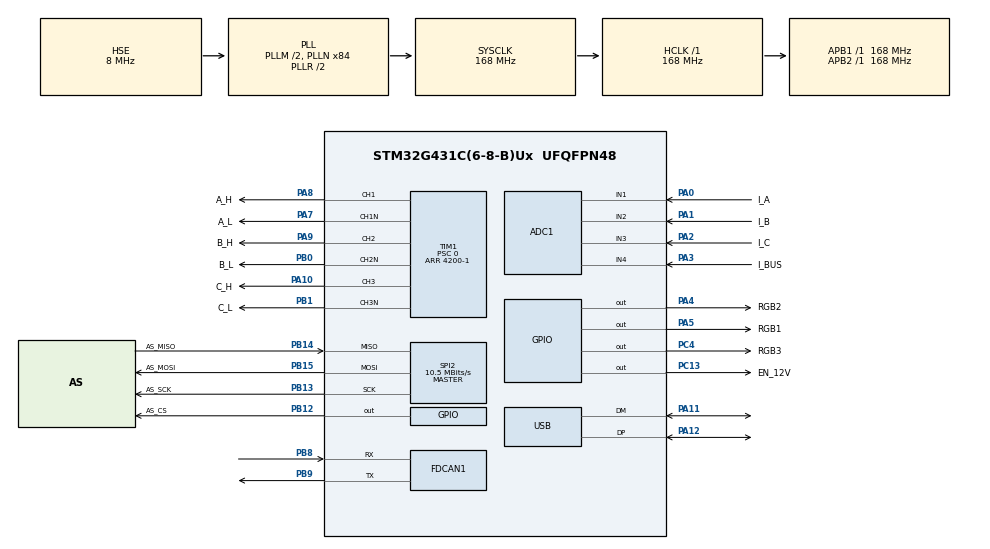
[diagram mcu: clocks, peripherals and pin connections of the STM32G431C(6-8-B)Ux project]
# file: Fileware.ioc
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ADC1.EnableInjectedConversion=ENABLE
ADC1.EnableRegularConversion=DISABLE
ADC1.ExternalTrigInjecConv=ADC_EXTERNALTRIGINJEC_T1_CC4
ADC1.ExternalTrigInjecConvEdge=ADC_EXTERNALTRIGINJECCONV_EDGE_RISINGFALLING
ADC1.InjNumberOfConversion=4
ADC1.InjectedChannel-1\#ChannelInjectedConversion=ADC_CHANNEL_1
ADC1.InjectedChannel-2\#ChannelInjectedConversion=ADC_CHANNEL_2
ADC1.InjectedChannel-3\#ChannelInjectedConversion=ADC_CHANNEL_3
ADC1.InjectedChannel-4\#ChannelInjectedConversion=ADC_CHANNEL_4
ADC1.InjectedOffsetNumber-1\#ChannelInjectedConversion=ADC_OFFSET_NONE
ADC1.InjectedOffsetNumber-2\#ChannelInjectedConversion=ADC_OFFSET_NONE
ADC1.InjectedOffsetNumber-3\#ChannelInjectedConversion=ADC_OFFSET_NONE
ADC1.InjectedOffsetNumber-4\#ChannelInjectedConversion=ADC_OFFSET_NONE
ADC1.InjectedRank-1\#ChannelInjectedConversion=1
ADC1.InjectedRank-2\#ChannelInjectedConversion=2
ADC1.InjectedRank-3\#ChannelInjectedConversion=3
ADC1.InjectedRank-4\#ChannelInjectedConversion=4
ADC1.InjectedSamplingTime-1\#ChannelInjectedConversion=ADC_SAMPLETIME_2CYCLES_5
ADC1.InjectedSamplingTime-2\#ChannelInjectedConversion=ADC_SAMPLETIME_24CYCLES_5
ADC1.InjectedSamplingTime-3\#ChannelInjectedConversion=ADC_SAMPLETIME_24CYCLES_5
ADC1.InjectedSamplingTime-4\#ChannelInjectedConversion=ADC_SAMPLETIME_6CYCLES_5
ADC1.Rank1_Channel=ADC_CHANNEL_1
ADC1.Rank2_Channel=ADC_CHANNEL_2
ADC1.Rank3_Channel=ADC_CHANNEL_3
ADC1.Rank4_Channel=ADC_CHANNEL_4
ADC1.master=1
FDCAN1.CalculateBaudRateNominal=999999
FDCAN1.CalculateTimeBitNominal=1000
FDCAN1.CalculateTimeQuantumNominal=83.33333333333334
FDCAN1.NominalPrescaler=14
FDCAN1.NominalSyncJumpWidth=2
FDCAN1.NominalTimeSeg1=5
FDCAN1.NominalTimeSeg2=6
Mcu.Family=STM32G4
Mcu.Name=STM32G431C(6-8-B)Ux
Mcu.Package=UFQFPN48
NVIC.ADC1_2_IRQn=true\:0\:0\:false\:false\:true\:true\:true\:true
NVIC.FDCAN1_IT0_IRQn=true\:2\:0\:true\:false\:true\:true\:true\:true
NVIC.PriorityGroup=NVIC_PRIORITYGROUP_4
NVIC.TIM6_DAC_IRQn=true\:1\:0\:true\:false\:true\:true\:true\:true
NVIC.USB_LP_IRQn=true\:0\:0\:false\:false\:true\:false\:true\:true
PA0.GPIO_Label=I_A
PA0.Mode=IN1-Single-Ended
PA0.Signal=ADC1_IN1
PA1.GPIO_Label=I_B
PA1.Mode=IN2-Single-Ended
PA1.Signal=ADC1_IN2
PA10.GPIO_Label=C_H
PA10.Signal=S_TIM1_CH3
PA11.Mode=Device
PA11.Signal=USB_DM
PA12.Mode=Device
PA12.Signal=USB_DP
PA13.Mode=Serial_Wire
PA13.Signal=SYS_JTMS-SWDIO
PA14.Mode=Serial_Wire
PA14.Signal=SYS_JTCK-SWCLK
PA2.GPIO_Label=I_C
PA2.Mode=IN3-Single-Ended
PA2.Signal=ADC1_IN3
PA3.GPIO_Label=I_BUS
PA3.Mode=IN4-Single-Ended
PA3.Signal=ADC1_IN4
PA4.GPIO_Label=RGB2
PA4.Signal=GPIO_Output
PA5.GPIO_Label=RGB1
PA5.Signal=GPIO_Output
PA7.GPIO_Label=A_L
PA7.Mode=PWM Generation1 CH1 CH1N
PA7.Signal=TIM1_CH1N
PA8.GPIO_Label=A_H
PA8.Signal=S_TIM1_CH1
PA9.GPIO_Label=B_H
PA9.Signal=S_TIM1_CH2
PB0.GPIO_Label=B_L
PB0.Mode=PWM Generation2 CH2 CH2N
PB0.Signal=TIM1_CH2N
PB1.GPIO_Label=C_L
PB1.Mode=PWM Generation3 CH3 CH3N
PB1.Signal=TIM1_CH3N
PB12.GPIO_Label=AS_CS
PB12.Signal=GPIO_Output
PB13.GPIO_Label=AS_SCK
PB13.Mode=Full_Duplex_Master
PB13.Signal=SPI2_SCK
PB14.GPIO_Label=AS_MISO
PB14.Mode=Full_Duplex_Master
PB14.Signal=SPI2_MISO
PB15.GPIO_Label=AS_MOSI
PB15.Mode=Full_Duplex_Master
PB15.Signal=SPI2_MOSI
PB8-BOOT0.Mode=FDCAN_Activate
PB8-BOOT0.Signal=FDCAN1_RX
PB9.Mode=FDCAN_Activate
PB9.Signal=FDCAN1_TX
PC13.GPIO_Label=EN_12V
PC13.Signal=GPIO_Output
PC4.GPIO_Label=RGB3
PC4.Signal=GPIO_Output
PF0-OSC_IN.Mode=HSE-External-Clock-Source
PF0-OSC_IN.Signal=RCC_OSC_IN
ProjectManager.HeapSize=0x800
ProjectManager.StackSize=0x800
ProjectManager.TargetToolchain=MDK-ARM V5.32
RCC.ADC12Freq_Value=168000000
RCC.AHBFreq_Value=168000000
RCC.APB1Freq_Value=168000000
RCC.APB1TimFreq_Value=168000000
RCC.APB2Freq_Value=168000000
RCC.APB2TimFreq_Value=168000000
RCC.CK48CLockSelection=RCC_USBCLKSOURCE_HSI48
RCC.CortexFreq_Value=168000000
RCC.EXTERNAL_CLOCK_VALUE=12288000
RCC.EnbaleCSS=true
RCC.HCLKFreq_Value=168000000
RCC.HSE_VALUE=8000000
RCC.HSI48_VALUE=48000000
RCC.HSI_VALUE=16000000
RCC.LSE_VALUE=32768
RCC.PLLM=RCC_PLLM_DIV2
RCC.PLLN=84
RCC.PLLQ=RCC_PLLQ_DIV6
RCC.PLLSourceVirtual=RCC_PLLSOURCE_HSE
RCC.SYSCLKFreq_VALUE=168000000
RCC.SYSCLKSource=RCC_SYSCLKSOURCE_PLLCLK
RCC.USBFreq_Value=48000000
RCC.VCOOutputFreq_Value=336000000
SH.S_TIM1_CH1.0=TIM1_CH1,PWM Generation1 CH1 CH1N
SH.S_TIM1_CH2.0=TIM1_CH2,PWM Generation2 CH2 CH2N
SH.S_TIM1_CH3.0=TIM1_CH3,PWM Generation3 CH3 CH3N
SPI2.BaudRatePrescaler=SPI_BAUDRATEPRESCALER_16
SPI2.CLKPhase=SPI_PHASE_2EDGE
SPI2.CalculateBaudRate=10.5 MBits/s
SPI2.DataSize=SPI_DATASIZE_16BIT
SPI2.Direction=SPI_DIRECTION_2LINES
SPI2.Mode=SPI_MODE_MASTER
SPI2.VirtualType=VM_MASTER
TIM1.Channel-PWM\ Generation1\ CH1\ CH1N=TIM_CHANNEL_1
TIM1.Channel-PWM\ Generation2\ CH2\ CH2N=TIM_CHANNEL_2
TIM1.Channel-PWM\ Generation3\ CH3\ CH3N=TIM_CHANNEL_3
TIM1.Channel-PWM\ Generation4\ No\ Output=TIM_CHANNEL_4
TIM1.CounterMode=TIM_COUNTERMODE_CENTERALIGNED1
TIM1.DeadTime=50
TIM1.OCMode_PWM-PWM\ Generation1\ CH1\ CH1N=TIM_OCMODE_PWM2
TIM1.OCMode_PWM-PWM\ Generation2\ CH2\ CH2N=TIM_OCMODE_PWM2
TIM1.OCMode_PWM-PWM\ Generation3\ CH3\ CH3N=TIM_OCMODE_PWM2
TIM1.OCMode_PWM-PWM\ Generation4\ No\ Output=TIM_OCMODE_PWM2
TIM1.PeriodNoDither=4200-1
TIM1.Prescaler=0
TIM6.PeriodNoDither=100
TIM6.Prescaler=168
USB_DEVICE.CLASS_NAME_FS=CDC
USB_DEVICE.VirtualMode=Cdc
USB_DEVICE.VirtualModeFS=Cdc_FS
VP_SYS_VS_DBSignals.Mode=DisableDeadBatterySignals
VP_TIM1_VS_ClockSourceINT.Mode=Internal
VP_TIM1_VS_no_output4.Mode=PWM Generation4 No Output
VP_TIM6_VS_ClockSourceINT.Mode=Enable_Timer
VP_USB_DEVICE_VS_USB_DEVICE_CDC_FS.Mode=CDC_FS
board=custom

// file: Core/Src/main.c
/* USER CODE BEGIN Header */
/**
  ******************************************************************************
  * @file           : main.c
  * @brief          : Main program body
  ******************************************************************************
  * @attention
  *
  * Copyright (c) 2024 STMicroelectronics.
  * All rights reserved.
  *
  * This software is licensed under terms that can be found in the LICENSE file
  * in the root directory of this software component.
  * If no LICENSE file comes with this software, it is provided AS-IS.
  *
  ******************************************************************************
  */
/* USER CODE END Header */
#include "main.h"
#include "usb_device.h"

/* USER CODE BEGIN Includes */
#include "arm_math.h"
#include "stdbool.h"
#include "pll.h"
#include "FocCtr.h"

/* USER CODE END Includes */

/* USER CODE BEGIN PTD */

struct send_data my_data;
extern uint8_t CDC_Transmit_FS(uint8_t* Buf, uint16_t Len);

uint8_t isready=0;
void Get_Aagel();

void SVPWM()
{

//	Angel_Now+=0.005f;
//	if(Angel_Now>6.28)
//	{
//		Angel_Now=0;
//	}
	Park_change_Contrary();//反Park变换
	sector_judg();//扇区判断
	TIM1->CCR1 =  (uint16_t)ta;
	TIM1->CCR2 =  (uint16_t)tb;
	TIM1->CCR3 =  (uint16_t)tc;

}

/* USER CODE END PTD */

ADC_HandleTypeDef hadc1;

FDCAN_HandleTypeDef hfdcan1;

SPI_HandleTypeDef hspi2;

TIM_HandleTypeDef htim1;
TIM_HandleTypeDef htim6;

/* USER CODE BEGIN PV */

FDCAN_RxHeaderTypeDef fdcan1_RxHeader;
FDCAN_TxHeaderTypeDef fdcan1_TxHeader;

uint8_t Can_sendBuf[1];

uint16_t SPI_recive_data,SPI_send_data,Angel_begin;

float Ture_angel=0;
float angel_temp,Ture_angel_last;
int circle;
extern float Ture_angel;
void Get_Aagel()
{
	SPI_send_data|=0x3fff;
	AS_CS_L
	HAL_SPI_TransmitReceive(&hspi2,(uint8_t*)&SPI_send_data,(uint8_t*)&SPI_recive_data,1,100);
	SPI_recive_data &= 0x3fff;
	AS_CS_H
	angel_temp=(float)SPI_recive_data;
	angel_temp = angel_temp/2607.5945;///16384.0*2.0*PI
	if(angel_temp-Ture_angel_last>5)
	{
			circle++;
	}
	else if(angel_temp-Ture_angel_last<-5)
	{
		circle--;
	}

	Ture_angel_last=angel_temp;
	Ture_angel=-angel_temp+6.2832*circle;
	if(isready==0)
	{
		Angel_begin=SPI_recive_data;

	}

}
uint8_t times2,times4;
int16_t enc;
 void HAL_ADCEx_InjectedConvCpltCallback(ADC_HandleTypeDef* hadc)
 {

		if(hadc == &hadc1 && isready==1)
		{
				HAL_GPIO_WritePin(RGB1_GPIO_Port,RGB1_Pin,GPIO_PIN_SET);

					Get_Aagel();
//					Angel_Now=-K1*(SPI_recive_data-Angel_begin)*14.0f-87.9645943f*laps;
				  enc = SPI_recive_data - Angel_begin;
					if(enc<0) enc += 16384;
					//Angel_Now = -K1*enc*14.f;

					MeasurePosVel(enc,&pos_vel);//Odrive计算当前角度以及速度
					Klark_change();

					times2++;
					times4++;

					Uq=Iq_current_loop();
					Ud=Id_current_loop();
					float limit = Vbus *(2.f/3.f);
					if(Uq>limit) 					Uq = limit;
					else if(Uq < -limit) 	Uq = -limit;
					if(Ud>limit) 					Ud = limit;
					else if(Ud < -limit) 	Ud = -limit;

					if(times2==2)
					{

						Iq_Target=speed_loop();
						times2=0;

					}
					if(times4==4)
					{
							position_loop();

					}

					SVPWM();

				my_data.DATA[0]   = Position_ctl.target;
				my_data.DATA[1]   = pos_vel.pos;
				my_data.DATA[2]   = Position_ctl.out;
				my_data.DATA[3]   = pos_vel.vel;
				my_data.DATA[4]   = Iq_Target;
				my_data.DATA[5]   = Iq_ref;
				my_data.DATA[6]   = Ture_angel;
	      my_data.DATA[7]   = pos_vel.pos;
				my_data.DATA[8]   = Position_ctl.target;
				CDC_Transmit_FS((uint8_t*)&my_data, sizeof(my_data));
				HAL_GPIO_WritePin(RGB1_GPIO_Port,RGB1_Pin,GPIO_PIN_RESET);
			  //FDCAN1_Send_Msg(&Can_sendBuf[0]);//CAN发送函数
		}

 }

/* USER CODE END PV */

void SystemClock_Config(void);
static void MX_GPIO_Init(void);
static void MX_TIM1_Init(void);
static void MX_TIM6_Init(void);
static void MX_ADC1_Init(void);
static void MX_SPI2_Init(void);
static void MX_FDCAN1_Init(void);

/* USER CODE BEGIN 0 */
 uint16_t times1000ms;
 uint16_t add_jian=0;
void HAL_TIM_PeriodElapsedCallback(TIM_HandleTypeDef *htim)// 100ms
{
	if(htim == &htim6)  //判断中断是否来自于定时器1
   {
			__HAL_TIM_CLEAR_FLAG(&htim6,TIM_FLAG_UPDATE);
		 times1000ms++;
		 if(times1000ms==1200)
		 {
				if(add_jian==0)
				{
						Position_ctl.target = 0;
						add_jian=1;
				}
				else if(add_jian==1)
				{
						Position_ctl.target = 50.24;
						add_jian=0;
				}
				times1000ms=0;

		 }
   }
}

void Pid_Param_init()
{
	Iq_current.P   =  0.78;
	Iq_current.I   = 0.0907;

	Speed_ctl.P    =  -0.5;
	Speed_ctl.I    =  -0.002;

  Position_ctl.P =   1;                                        ;
	Position_ctl.I =   0;
}

uint8_t FDCAN1_Send_Msg(uint8_t* msg)//CAN发送函数
{

  fdcan1_TxHeader.Identifier = 0X555;
  fdcan1_TxHeader.IdType = FDCAN_STANDARD_ID;
  fdcan1_TxHeader.TxFrameType = FDCAN_DATA_FRAME;
  fdcan1_TxHeader.DataLength = FDCAN_DLC_BYTES_8;
  fdcan1_TxHeader.ErrorStateIndicator = FDCAN_ESI_ACTIVE;
  fdcan1_TxHeader.BitRateSwitch = FDCAN_BRS_OFF;
  fdcan1_TxHeader.FDFormat = FDCAN_CLASSIC_CAN;
  fdcan1_TxHeader.TxEventFifoControl = FDCAN_NO_TX_EVENTS;
  fdcan1_TxHeader.MessageMarker = 0x52; //由于网上借鉴该函数，我也不太明白为什么是0x52，不过我测试改成0好像也没问题

  if(HAL_FDCAN_AddMessageToTxFifoQ(&hfdcan1,&fdcan1_TxHeader,msg)!=HAL_OK) return 1;//发送
	return 0;
}

uint8_t CAN_recive_data[8];
uint16_t Can_id;
uint16_t can_rec_len;
uint8_t FDCAN1_Receive_Msg(uint8_t *buf, uint16_t *Identifier,uint16_t *len)
{

  if(HAL_FDCAN_GetRxMessage(&hfdcan1,FDCAN_RX_FIFO0,&fdcan1_RxHeader,buf)!=HAL_OK)return 0;//接收数据
  *Identifier = fdcan1_RxHeader.Identifier;
  *len=fdcan1_RxHeader.DataLength>>16;
  return fdcan1_RxHeader.DataLength>>16;
}

/* USER CODE END 0 */

int main(void)
{

  /* MCU Configuration--------------------------------------------------------*/

  /* Reset of all peripherals, Initializes the Flash interface and the Systick. */
  HAL_Init();

  /* USER CODE BEGIN Init */
		my_data.tail[0]=0x00;
		my_data.tail[1]=0x00;
		my_data.tail[2]=0x80;
		my_data.tail[3]=0x7F;

	  Pid_Param_init();

  /* USER CODE END Init */

  /* Configure the system clock */
  SystemClock_Config();

  /* Initialize all configured peripherals */
  MX_GPIO_Init();
  MX_TIM1_Init();
  MX_TIM6_Init();
  MX_USB_Device_Init();
  MX_ADC1_Init();
  MX_SPI2_Init();
  MX_FDCAN1_Init();
  /* USER CODE BEGIN 2 */

 TIM1->CCR4=1;
 HAL_TIM_Base_Start_IT(&htim6);
 HAL_TIM_PWM_Start(&htim1,TIM_CHANNEL_1);
 HAL_TIM_PWM_Start(&htim1,TIM_CHANNEL_2);
 HAL_TIM_PWM_Start(&htim1,TIM_CHANNEL_3);
 HAL_TIM_PWM_Start(&htim1,TIM_CHANNEL_4);
 HAL_TIMEx_PWMN_Start(&htim1, TIM_CHANNEL_1);
 HAL_TIMEx_PWMN_Start(&htim1, TIM_CHANNEL_2);
 HAL_TIMEx_PWMN_Start(&htim1, TIM_CHANNEL_3);
 HAL_ADCEx_Calibration_Start(&hadc1,ADC_SINGLE_ENDED);

 HAL_ADCEx_InjectedStart(&hadc1);
 __HAL_ADC_ENABLE_IT(&hadc1,ADC_IT_JEOC);
 HAL_GPIO_WritePin(GPIOC, EN_12V_Pin, 1);

  /* USER CODE END 2 */

  /* Infinite loop */
  while (1)
  {

    /* USER CODE BEGIN 3 */
		if(isready==0)
		{

			Can_sendBuf[0]=189;
			HAL_Delay(200);
		  Get_Aagel();
			Ud=1.5f;
			SVPWM();
			HAL_Delay(1000);
			Get_Aagel();
			Ud=0;

			isready=1;
			Position_ctl.target=0;
		}

  }
  /* USER CODE END 3 */
}

void SystemClock_Config(void)
{
  RCC_OscInitTypeDef RCC_OscInitStruct = {0};
  RCC_ClkInitTypeDef RCC_ClkInitStruct = {0};

  /** Configure the main internal regulator output voltage
  */
  HAL_PWREx_ControlVoltageScaling(PWR_REGULATOR_VOLTAGE_SCALE1_BOOST);

  /** Initializes the RCC Oscillators according to the specified parameters
  * in the RCC_OscInitTypeDef structure.
  */
  RCC_OscInitStruct.OscillatorType = RCC_OSCILLATORTYPE_HSI48|RCC_OSCILLATORTYPE_HSE;
  RCC_OscInitStruct.HSEState = RCC_HSE_BYPASS;
  RCC_OscInitStruct.HSI48State = RCC_HSI48_ON;
  RCC_OscInitStruct.PLL.PLLState = RCC_PLL_ON;
  RCC_OscInitStruct.PLL.PLLSource = RCC_PLLSOURCE_HSE;
  RCC_OscInitStruct.PLL.PLLM = RCC_PLLM_DIV2;
  RCC_OscInitStruct.PLL.PLLN = 84;
  RCC_OscInitStruct.PLL.PLLP = RCC_PLLP_DIV2;
  RCC_OscInitStruct.PLL.PLLQ = RCC_PLLQ_DIV6;
  RCC_OscInitStruct.PLL.PLLR = RCC_PLLR_DIV2;
  if (HAL_RCC_OscConfig(&RCC_OscInitStruct) != HAL_OK)
  {
    Error_Handler();
  }

  /** Initializes the CPU, AHB and APB buses clocks
  */
  RCC_ClkInitStruct.ClockType = RCC_CLOCKTYPE_HCLK|RCC_CLOCKTYPE_SYSCLK
                              |RCC_CLOCKTYPE_PCLK1|RCC_CLOCKTYPE_PCLK2;
  RCC_ClkInitStruct.SYSCLKSource = RCC_SYSCLKSOURCE_PLLCLK;
  RCC_ClkInitStruct.AHBCLKDivider = RCC_SYSCLK_DIV1;
  RCC_ClkInitStruct.APB1CLKDivider = RCC_HCLK_DIV1;
  RCC_ClkInitStruct.APB2CLKDivider = RCC_HCLK_DIV1;

  if (HAL_RCC_ClockConfig(&RCC_ClkInitStruct, FLASH_LATENCY_4) != HAL_OK)
  {
    Error_Handler();
  }

  /** Enables the Clock Security System
  */
  HAL_RCC_EnableCSS();
}

static void MX_ADC1_Init(void)
{

  ADC_MultiModeTypeDef multimode = {0};
  ADC_InjectionConfTypeDef sConfigInjected = {0};

  /** Common config
  */
  hadc1.Instance = ADC1;
  hadc1.Init.ClockPrescaler = ADC_CLOCK_SYNC_PCLK_DIV4;
  hadc1.Init.Resolution = ADC_RESOLUTION_12B;
  hadc1.Init.DataAlign = ADC_DATAALIGN_RIGHT;
  hadc1.Init.GainCompensation = 0;
  hadc1.Init.ScanConvMode = ADC_SCAN_ENABLE;
  hadc1.Init.EOCSelection = ADC_EOC_SINGLE_CONV;
  hadc1.Init.LowPowerAutoWait = DISABLE;
  hadc1.Init.ContinuousConvMode = DISABLE;
  hadc1.Init.NbrOfConversion = 1;
  hadc1.Init.DiscontinuousConvMode = DISABLE;
  hadc1.Init.DMAContinuousRequests = DISABLE;
  hadc1.Init.Overrun = ADC_OVR_DATA_PRESERVED;
  hadc1.Init.OversamplingMode = DISABLE;
  if (HAL_ADC_Init(&hadc1) != HAL_OK)
  {
    Error_Handler();
  }

  /** Configure the ADC multi-mode
  */
  multimode.Mode = ADC_MODE_INDEPENDENT;
  if (HAL_ADCEx_MultiModeConfigChannel(&hadc1, &multimode) != HAL_OK)
  {
    Error_Handler();
  }

  /** Configure Injected Channel
  */
  sConfigInjected.InjectedChannel = ADC_CHANNEL_1;
  sConfigInjected.InjectedRank = ADC_INJECTED_RANK_1;
  sConfigInjected.InjectedSamplingTime = ADC_SAMPLETIME_6CYCLES_5;
  sConfigInjected.InjectedSingleDiff = ADC_SINGLE_ENDED;
  sConfigInjected.InjectedOffsetNumber = ADC_OFFSET_NONE;
  sConfigInjected.InjectedOffset = 0;
  sConfigInjected.InjectedNbrOfConversion = 4;
  sConfigInjected.InjectedDiscontinuousConvMode = DISABLE;
  sConfigInjected.AutoInjectedConv = DISABLE;
  sConfigInjected.QueueInjectedContext = DISABLE;
  sConfigInjected.ExternalTrigInjecConv = ADC_EXTERNALTRIGINJEC_T1_CC4;
  sConfigInjected.ExternalTrigInjecConvEdge = ADC_EXTERNALTRIGINJECCONV_EDGE_RISINGFALLING;
  sConfigInjected.InjecOversamplingMode = DISABLE;
  if (HAL_ADCEx_InjectedConfigChannel(&hadc1, &sConfigInjected) != HAL_OK)
  {
    Error_Handler();
  }

  /** Configure Injected Channel
  */
  sConfigInjected.InjectedChannel = ADC_CHANNEL_2;
  sConfigInjected.InjectedRank = ADC_INJECTED_RANK_2;
  if (HAL_ADCEx_InjectedConfigChannel(&hadc1, &sConfigInjected) != HAL_OK)
  {
    Error_Handler();
  }

  /** Configure Injected Channel
  */
  sConfigInjected.InjectedChannel = ADC_CHANNEL_3;
  sConfigInjected.InjectedRank = ADC_INJECTED_RANK_3;
  if (HAL_ADCEx_InjectedConfigChannel(&hadc1, &sConfigInjected) != HAL_OK)
  {
    Error_Handler();
  }

  /** Configure Injected Channel
  */
  sConfigInjected.InjectedChannel = ADC_CHANNEL_4;
  sConfigInjected.InjectedRank = ADC_INJECTED_RANK_4;
  if (HAL_ADCEx_InjectedConfigChannel(&hadc1, &sConfigInjected) != HAL_OK)
  {
    Error_Handler();
  }

}

static void MX_FDCAN1_Init(void)
{

  /* USER CODE BEGIN FDCAN1_Init 0 */

	FDCAN_FilterTypeDef FDCAN1_RXFilter;
  /* USER CODE END FDCAN1_Init 0 */

  hfdcan1.Instance = FDCAN1;
  hfdcan1.Init.ClockDivider = FDCAN_CLOCK_DIV1;
  hfdcan1.Init.FrameFormat = FDCAN_FRAME_CLASSIC;
  hfdcan1.Init.Mode = FDCAN_MODE_NORMAL;
  hfdcan1.Init.AutoRetransmission = DISABLE;
  hfdcan1.Init.TransmitPause = DISABLE;
  hfdcan1.Init.ProtocolException = DISABLE;
  hfdcan1.Init.NominalPrescaler = 14;
  hfdcan1.Init.NominalSyncJumpWidth = 2;
  hfdcan1.Init.NominalTimeSeg1 = 5;
  hfdcan1.Init.NominalTimeSeg2 = 6;
  hfdcan1.Init.DataPrescaler = 1;
  hfdcan1.Init.DataSyncJumpWidth = 1;
  hfdcan1.Init.DataTimeSeg1 = 1;
  hfdcan1.Init.DataTimeSeg2 = 1;
  hfdcan1.Init.StdFiltersNbr = 0;
  hfdcan1.Init.ExtFiltersNbr = 0;
  hfdcan1.Init.TxFifoQueueMode = FDCAN_TX_FIFO_OPERATION;
  if (HAL_FDCAN_Init(&hfdcan1) != HAL_OK)
  {
    Error_Handler();
  }
  /* USER CODE BEGIN FDCAN1_Init 2 */

	  FDCAN1_RXFilter.IdType=FDCAN_STANDARD_ID;                       //标准ID
    FDCAN1_RXFilter.FilterIndex=0;                                  //滤波器索引
    FDCAN1_RXFilter.FilterType=FDCAN_FILTER_RANGE;                   //滤波器类型
    FDCAN1_RXFilter.FilterConfig=FDCAN_FILTER_TO_RXFIFO0;           //过滤器0关联到FIFO0
    FDCAN1_RXFilter.FilterID1=0x0000;                               //32位ID
    FDCAN1_RXFilter.FilterID2=0x0000;                               //如果FDCAN配置为传统模式的话，这里是32位掩码
    if(HAL_FDCAN_ConfigFilter(&hfdcan1,&FDCAN1_RXFilter)!=HAL_OK) //滤波器初始化
		{
			Error_Handler();
		}

    HAL_FDCAN_Start(&hfdcan1);                               //开启FDCAN
    HAL_FDCAN_ActivateNotification(&hfdcan1,FDCAN_IT_RX_FIFO0_NEW_MESSAGE,0);

  /* USER CODE END FDCAN1_Init 2 */

}

static void MX_SPI2_Init(void)
{

  /* SPI2 parameter configuration*/
  hspi2.Instance = SPI2;
  hspi2.Init.Mode = SPI_MODE_MASTER;
  hspi2.Init.Direction = SPI_DIRECTION_2LINES;
  hspi2.Init.DataSize = SPI_DATASIZE_16BIT;
  hspi2.Init.CLKPolarity = SPI_POLARITY_LOW;
  hspi2.Init.CLKPhase = SPI_PHASE_2EDGE;
  hspi2.Init.NSS = SPI_NSS_SOFT;
  hspi2.Init.BaudRatePrescaler = SPI_BAUDRATEPRESCALER_16;
  hspi2.Init.FirstBit = SPI_FIRSTBIT_MSB;
  hspi2.Init.TIMode = SPI_TIMODE_DISABLE;
  hspi2.Init.CRCCalculation = SPI_CRCCALCULATION_DISABLE;
  hspi2.Init.CRCPolynomial = 7;
  hspi2.Init.CRCLength = SPI_CRC_LENGTH_DATASIZE;
  hspi2.Init.NSSPMode = SPI_NSS_PULSE_DISABLE;
  if (HAL_SPI_Init(&hspi2) != HAL_OK)
  {
    Error_Handler();
  }

}

static void MX_TIM1_Init(void)
{

  TIM_ClockConfigTypeDef sClockSourceConfig = {0};
  TIM_MasterConfigTypeDef sMasterConfig = {0};
  TIM_OC_InitTypeDef sConfigOC = {0};
  TIM_BreakDeadTimeConfigTypeDef sBreakDeadTimeConfig = {0};

  htim1.Instance = TIM1;
  htim1.Init.Prescaler = 0;
  htim1.Init.CounterMode = TIM_COUNTERMODE_CENTERALIGNED1;
  htim1.Init.Period = 4199;
  htim1.Init.ClockDivision = TIM_CLOCKDIVISION_DIV1;
  htim1.Init.RepetitionCounter = 0;
  htim1.Init.AutoReloadPreload = TIM_AUTORELOAD_PRELOAD_DISABLE;
  if (HAL_TIM_Base_Init(&htim1) != HAL_OK)
  {
    Error_Handler();
  }
  sClockSourceConfig.ClockSource = TIM_CLOCKSOURCE_INTERNAL;
  if (HAL_TIM_ConfigClockSource(&htim1, &sClockSourceConfig) != HAL_OK)
  {
    Error_Handler();
  }
  if (HAL_TIM_PWM_Init(&htim1) != HAL_OK)
  {
    Error_Handler();
  }
  sMasterConfig.MasterOutputTrigger = TIM_TRGO_RESET;
  sMasterConfig.MasterOutputTrigger2 = TIM_TRGO2_RESET;
  sMasterConfig.MasterSlaveMode = TIM_MASTERSLAVEMODE_DISABLE;
  if (HAL_TIMEx_MasterConfigSynchronization(&htim1, &sMasterConfig) != HAL_OK)
  {
    Error_Handler();
  }
  sConfigOC.OCMode = TIM_OCMODE_PWM2;
  sConfigOC.Pulse = 0;
  sConfigOC.OCPolarity = TIM_OCPOLARITY_HIGH;
  sConfigOC.OCNPolarity = TIM_OCNPOLARITY_HIGH;
  sConfigOC.OCFastMode = TIM_OCFAST_DISABLE;
  sConfigOC.OCIdleState = TIM_OCIDLESTATE_RESET;
  sConfigOC.OCNIdleState = TIM_OCNIDLESTATE_RESET;
  if (HAL_TIM_PWM_ConfigChannel(&htim1, &sConfigOC, TIM_CHANNEL_1) != HAL_OK)
  {
    Error_Handler();
  }
  if (HAL_TIM_PWM_ConfigChannel(&htim1, &sConfigOC, TIM_CHANNEL_2) != HAL_OK)
  {
    Error_Handler();
  }
  if (HAL_TIM_PWM_ConfigChannel(&htim1, &sConfigOC, TIM_CHANNEL_3) != HAL_OK)
  {
    Error_Handler();
  }
  if (HAL_TIM_PWM_ConfigChannel(&htim1, &sConfigOC, TIM_CHANNEL_4) != HAL_OK)
  {
    Error_Handler();
  }
  sBreakDeadTimeConfig.OffStateRunMode = TIM_OSSR_DISABLE;
  sBreakDeadTimeConfig.OffStateIDLEMode = TIM_OSSI_DISABLE;
  sBreakDeadTimeConfig.LockLevel = TIM_LOCKLEVEL_OFF;
  sBreakDeadTimeConfig.DeadTime = 50;
  sBreakDeadTimeConfig.BreakState = TIM_BREAK_DISABLE;
  sBreakDeadTimeConfig.BreakPolarity = TIM_BREAKPOLARITY_HIGH;
  sBreakDeadTimeConfig.BreakFilter = 0;
  sBreakDeadTimeConfig.BreakAFMode = TIM_BREAK_AFMODE_INPUT;
  sBreakDeadTimeConfig.Break2State = TIM_BREAK2_DISABLE;
  sBreakDeadTimeConfig.Break2Polarity = TIM_BREAK2POLARITY_HIGH;
  sBreakDeadTimeConfig.Break2Filter = 0;
  sBreakDeadTimeConfig.Break2AFMode = TIM_BREAK_AFMODE_INPUT;
  sBreakDeadTimeConfig.AutomaticOutput = TIM_AUTOMATICOUTPUT_DISABLE;
  if (HAL_TIMEx_ConfigBreakDeadTime(&htim1, &sBreakDeadTimeConfig) != HAL_OK)
  {
    Error_Handler();
  }
  HAL_TIM_MspPostInit(&htim1);

}

static void MX_TIM6_Init(void)
{

  TIM_MasterConfigTypeDef sMasterConfig = {0};

  htim6.Instance = TIM6;
  htim6.Init.Prescaler = 168;
  htim6.Init.CounterMode = TIM_COUNTERMODE_UP;
  htim6.Init.Period = 10000;
  htim6.Init.AutoReloadPreload = TIM_AUTORELOAD_PRELOAD_DISABLE;
  if (HAL_TIM_Base_Init(&htim6) != HAL_OK)
  {
    Error_Handler();
  }
  sMasterConfig.MasterOutputTrigger = TIM_TRGO_RESET;
  sMasterConfig.MasterSlaveMode = TIM_MASTERSLAVEMODE_DISABLE;
  if (HAL_TIMEx_MasterConfigSynchronization(&htim6, &sMasterConfig) != HAL_OK)
  {
    Error_Handler();
  }

}

static void MX_GPIO_Init(void)
{
  GPIO_InitTypeDef GPIO_InitStruct = {0};

  /* GPIO Ports Clock Enable */
  __HAL_RCC_GPIOC_CLK_ENABLE();
  __HAL_RCC_GPIOF_CLK_ENABLE();
  __HAL_RCC_GPIOA_CLK_ENABLE();
  __HAL_RCC_GPIOB_CLK_ENABLE();

  /*Configure GPIO pin Output Level */
  HAL_GPIO_WritePin(GPIOC, EN_12V_Pin|RGB3_Pin, GPIO_PIN_RESET);

  /*Configure GPIO pin Output Level */
  HAL_GPIO_WritePin(GPIOA, RGB2_Pin|RGB1_Pin, GPIO_PIN_RESET);

  /*Configure GPIO pin Output Level */
  HAL_GPIO_WritePin(AS_CS_GPIO_Port, AS_CS_Pin, GPIO_PIN_RESET);

  /*Configure GPIO pins : EN_12V_Pin RGB3_Pin */
  GPIO_InitStruct.Pin = EN_12V_Pin|RGB3_Pin;
  GPIO_InitStruct.Mode = GPIO_MODE_OUTPUT_PP;
  GPIO_InitStruct.Pull = GPIO_NOPULL;
  GPIO_InitStruct.Speed = GPIO_SPEED_FREQ_LOW;
  HAL_GPIO_Init(GPIOC, &GPIO_InitStruct);

  /*Configure GPIO pins : RGB2_Pin RGB1_Pin */
  GPIO_InitStruct.Pin = RGB2_Pin|RGB1_Pin;
  GPIO_InitStruct.Mode = GPIO_MODE_OUTPUT_PP;
  GPIO_InitStruct.Pull = GPIO_NOPULL;
  GPIO_InitStruct.Speed = GPIO_SPEED_FREQ_LOW;
  HAL_GPIO_Init(GPIOA, &GPIO_InitStruct);

  /*Configure GPIO pin : AS_CS_Pin */
  GPIO_InitStruct.Pin = AS_CS_Pin;
  GPIO_InitStruct.Mode = GPIO_MODE_OUTPUT_PP;
  GPIO_InitStruct.Pull = GPIO_NOPULL;
  GPIO_InitStruct.Speed = GPIO_SPEED_FREQ_LOW;
  HAL_GPIO_Init(AS_CS_GPIO_Port, &GPIO_InitStruct);

}

void Error_Handler(void)
{
  __disable_irq();
  while (1)
  {
  }
}
